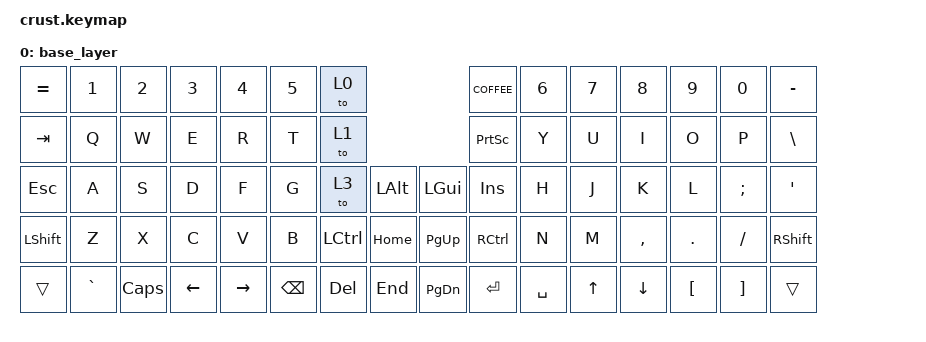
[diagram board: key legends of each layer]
#include <behaviors.dtsi>
#include <dt-bindings/zmk/keys.h>
#include <dt-bindings/zmk/bt.h>

/ {
    keymap {
        compatible = "zmk,keymap";

        base_layer {
// ┏━━━━━━━━━━━┳━━━━━━━━━━━┳━━━━━━━━━━━┳━━━━━━━━━━━┳━━━━━━━━━━━┳━━━━━━━━━━━┳━━━━━━━━━━━┓                                ┏━━━━━━━━━━━┳━━━━━━━━━━━┳━━━━━━━━━━━┳━━━━━━━━━━━┳━━━━━━━━━━━┳━━━━━━━━━━━┳━━━━━━━━━━━┓ 
// ┃           ┃           ┃           ┃           ┃           ┃           ┃           ┃                                ┃     7     ┃     8     ┃     9     ┃     0     ┃     P     ┃     G     ┃           ┃ 
// ┣━━━━━━━━━━━╋━━━━━━━━━━━╋━━━━━━━━━━━╋━━━━━━━━━━━╋━━━━━━━━━━━╋━━━━━━━━━━━╋━━━━━━━━━━━┫                                ┣━━━━━━━━━━━╋━━━━━━━━━━━╋━━━━━━━━━━━╋━━━━━━━━━━━╋━━━━━━━━━━━╋━━━━━━━━━━━╋━━━━━━━━━━━┫   
// ┃           ┃           ┃           ┃           ┃           ┃           ┃           ┃                                ┃           ┃     A     ┃     R     ┃     S     ┃     T     ┃     D     ┃           ┃
// ┣━━━━━━━━━━━╋━━━━━━━━━━━╋━━━━━━━━━━━╋━━━━━━━━━━━╋━━━━━━━━━━━╋━━━━━━━━━━━╋━━━━━━━━━━━╋━━━━━━━━━━━┓        ┏━━━━━━━━━━━╋━━━━━━━━━━━╋━━━━━━━━━━━╋━━━━━━━━━━━╋━━━━━━━━━━━╋━━━━━━━━━━━╋━━━━━━━━━━━╋━━━━━━━━━━━┫
// ┃           ┃     Z     ┃     X     ┃     C     ┃     V     ┃     B     ┃     3     ┃           ┃        ┃           ┃     Q     ┃     Z     ┃     X     ┃     C     ┃     V     ┃     B     ┃           ┃
// ┣━━━━━━━━━━━╋━━━━━━━━━━━╋━━━━━━━━━━━╋━━━━━━━━━━━╋━━━━━━━━━━━╋━━━━━━━━━━━╋━━━━━━━━━━━╋━━━━━━━━━━━┫        ┣━━━━━━━━━━━╋━━━━━━━━━━━╋━━━━━━━━━━━╋━━━━━━━━━━━╋━━━━━━━━━━━╋━━━━━━━━━━━╋━━━━━━━━━━━╋━━━━━━━━━━━┫
// ┃     ⇧     ┃     A     ┃     R     ┃     S     ┃     T     ┃     D     ┃           ┃           ┃        ┃           ┃     A     ┃     R     ┃     S     ┃     T     ┃     D     ┃           ┃           ┃
// ┣━━━━━━━━━━━╋━━━━━━━━━━━╋━━━━━━━━━━━╋━━━━━━━━━━━╋━━━━━━━━━━━╋━━━━━━━━━━━╋━━━━━━━━━━━╋━━━━━━━━━━━┫        ┣━━━━━━━━━━━╋━━━━━━━━━━━╋━━━━━━━━━━━╋━━━━━━━━━━━╋━━━━━━━━━━━╋━━━━━━━━━━━╋━━━━━━━━━━━╋━━━━━━━━━━━┫
// ┃     9     ┃     A     ┃     R     ┃     S     ┃     T     ┃     D     ┃           ┃           ┃        ┃           ┃     A     ┃     R     ┃     S     ┃     T     ┃     D     ┃           ┃           ┃
// ┗━━━━━━━━━━━┻━━━━━━━━━━━┻━━━━━━━━━━━┻━━━━━━━━━━━┻━━━━━━━━━━━┻━━━━━━━━━━━┻━━━━━━━━━━━┻━━━━━━━━━━━┛        ┗━━━━━━━━━━━┻━━━━━━━━━━━┻━━━━━━━━━━━┻━━━━━━━━━━━┻━━━━━━━━━━━┻━━━━━━━━━━━┻━━━━━━━━━━━┻━━━━━━━━━━━┛


            bindings = <
                &kp EQUAL   &kp N1      &kp N2      &kp N3      &kp N4      &kp N5      &to 0                                   &kp K_COFFEE    &kp N6      &kp N7      &kp N8      &kp N9      &kp N0      &kp MINUS
                &kp TAB     &kp Q       &kp W       &kp E       &kp R       &kp T       &to 1                                   &kp PSCRN       &kp Y       &kp U       &kp I       &kp O       &kp P       &kp BSLH
                &kp ESC     &kp A       &kp S       &kp D       &kp F       &kp G       &to 3       &kp LALT        &kp LGUI    &kp INS         &kp H       &kp J       &kp K       &kp L       &kp SEMI    &kp SQT
                &kp LSHIFT  &kp Z       &kp X       &kp C       &kp V       &kp B       &kp LCTRL   &kp HOME        &kp PG_UP   &kp RCTRL       &kp N       &kp M       &kp COMMA   &kp DOT     &kp FSLH    &kp RSHIFT
                &trans      &kp GRAVE   &kp CAPS    &kp LEFT    &kp RIGHT   &kp BSPC    &kp DEL     &kp END         &kp PG_DN   &kp ENTER       &kp SPACE   &kp UP      &kp DOWN    &kp LBKT    &kp RBKT    &trans
            >;
        };
    };
};

